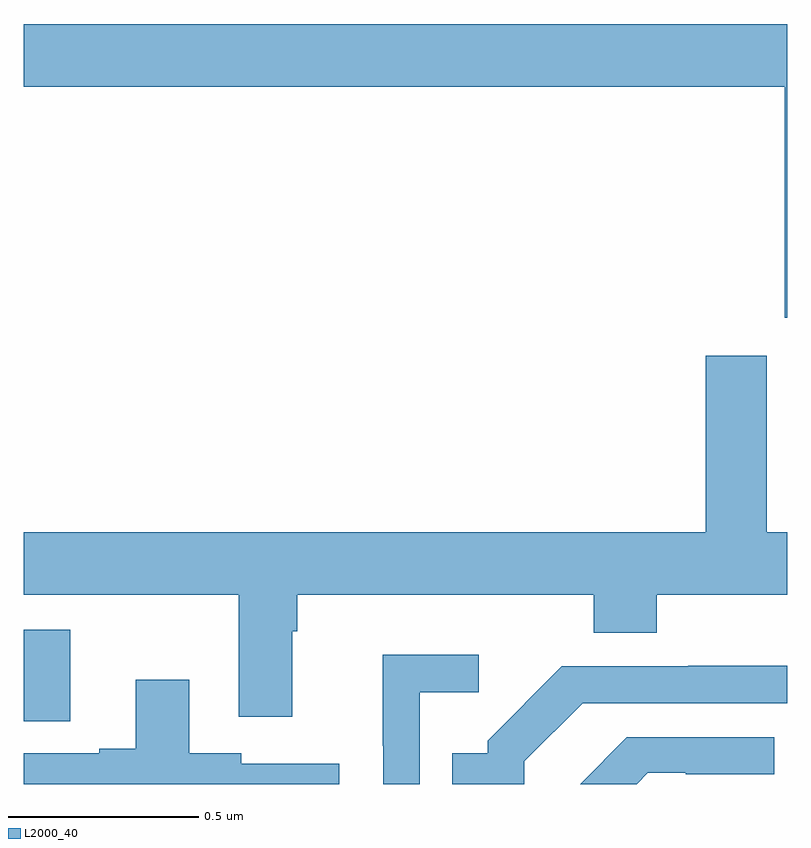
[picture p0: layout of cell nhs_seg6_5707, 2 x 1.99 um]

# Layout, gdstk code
import gdstk
lib = gdstk.Library(unit=1e-6, precision=1e-09)
def R(c, l, rs):  # rectangles x0, y0, x1, y1
    for r in rs: c.add(gdstk.rectangle(r[:2], r[2:], *l))
def P(c, l, *ps):  # polygons
    for p in ps: c.add(gdstk.Polygon(p, *l))
L2000_40 = (2000, 40)

nhs_seg6_5707 = lib.new_cell('nhs_seg6_5707')
R(nhs_seg6_5707, L2000_40, [(186,953.665,186.121,953.904)])
P(nhs_seg6_5707, L2000_40, [(188,955.492),(186,955.492),(186,955.328),(187.994,955.328),(187.994,954.722),(188,954.722)],
  [(186.703,953.9),(186.716,953.9),(186.716,953.996),(187.493,953.996),(187.493,953.897),(187.658,953.897),(187.658,953.996),(188,953.996),(188,954.16),(187.947,954.16),(187.947,954.622),(187.787,954.622),(187.787,954.16),(186,954.16),(186,953.996),(186.563,953.996),(186.563,953.676),(186.703,953.676)],
  [(187.038,953.741),(187.192,953.741),(187.192,953.839),(186.94,953.839),(186.94,953.6),(186.942,953.6),(186.942,953.5),(187.038,953.5)],
  [(187.311,953.559),(187.464,953.712),(188,953.712),(188,953.81),(187.741,953.81),(187.741,953.808),(187.41,953.808),(187.215,953.613),(187.215,953.581),(187.123,953.581),(187.123,953.5),(187.311,953.5)],
  [(186.826,953.553),(186.57,953.553),(186.57,953.58),(186.433,953.58),(186.433,953.773),(186.293,953.773),(186.293,953.593),(186.197,953.593),(186.197,953.58),(186,953.58),(186,953.5),(186.826,953.5)],
  [(187.635,953.529),(187.735,953.529),(187.735,953.526),(187.966,953.526),(187.966,953.622),(187.58,953.622),(187.458,953.5),(187.606,953.5)])

lib.write_gds('nhs_seg6_5707.gds')
